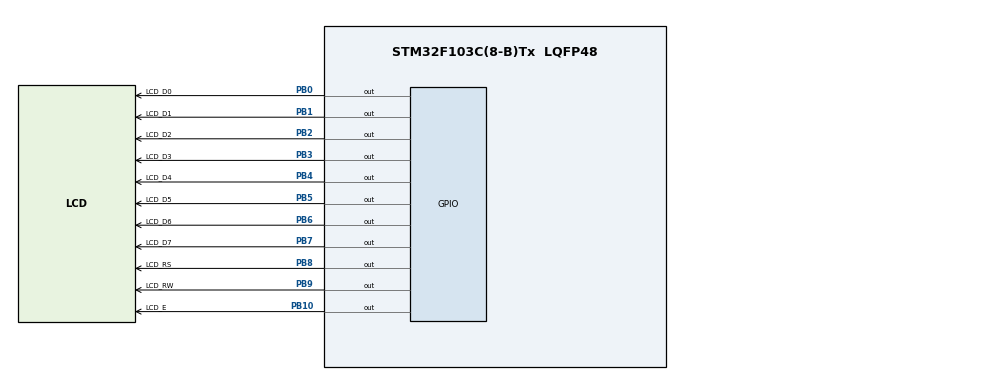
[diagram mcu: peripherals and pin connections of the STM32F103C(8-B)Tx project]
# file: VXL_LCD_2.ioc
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Mcu.Family=STM32F1
Mcu.Name=STM32F103C(8-B)Tx
Mcu.Package=LQFP48
NVIC.PriorityGroup=NVIC_PRIORITYGROUP_4
PA13.Mode=Serial_Wire
PA13.Signal=SYS_JTMS-SWDIO
PA14.Mode=Serial_Wire
PA14.Signal=SYS_JTCK-SWCLK
PB0.GPIO_Label=LCD_D0
PB0.Signal=GPIO_Output
PB1.GPIO_Label=LCD_D1
PB1.Signal=GPIO_Output
PB10.GPIO_Label=LCD_E
PB10.Signal=GPIO_Output
PB2.GPIO_Label=LCD_D2
PB2.Signal=GPIO_Output
PB3.GPIO_Label=LCD_D3
PB3.Signal=GPIO_Output
PB4.GPIO_Label=LCD_D4
PB4.Signal=GPIO_Output
PB5.GPIO_Label=LCD_D5
PB5.Signal=GPIO_Output
PB6.GPIO_Label=LCD_D6
PB6.Signal=GPIO_Output
PB7.GPIO_Label=LCD_D7
PB7.Signal=GPIO_Output
PB8.GPIO_Label=LCD_RS
PB8.Signal=GPIO_Output
PB9.GPIO_Label=LCD_RW
PB9.Signal=GPIO_Output
ProjectManager.HeapSize=0x200
ProjectManager.StackSize=0x400
ProjectManager.TargetToolchain=MDK-ARM V5.32
RCC.APB1Freq_Value=8000000
RCC.APB2Freq_Value=8000000
board=custom

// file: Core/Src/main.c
/* USER CODE BEGIN Header */
/**
  ******************************************************************************
  * @file           : main.c
  * @brief          : Main program body
  ******************************************************************************
  * @attention
  *
  * Copyright (c) 2023 STMicroelectronics.
  * All rights reserved.
  *
  * This software is licensed under terms that can be found in the LICENSE file
  * in the root directory of this software component.
  * If no LICENSE file comes with this software, it is provided AS-IS.
  *
  ******************************************************************************
  */
/* USER CODE END Header */
#include "main.h"

/* USER CODE BEGIN Includes */

// Select LCD_8bit or LCD_4bit in chi_LCD.c
#include "chi_LCD.h"

#include <stdio.h>
/* USER CODE END Includes */

/* USER CODE BEGIN PV */
const uint8_t CG1[]= {0,10,31,31,31,14,4,0};
const uint8_t CG2[] = {0x0,0xA,0x0,0x0,0x11,0xE,0x0,0x0};
const uint8_t CG3[] = {31,31,31,31,31,31,31,31};
/* USER CODE END PV */

void SystemClock_Config(void);
static void MX_GPIO_Init(void);

/* USER CODE BEGIN 0 */

/*struct __FILE
{
  int handle;
};*/
FILE __stdout;
int fputc(int ch, FILE *f)
{
	/* Your implementation of fputc(). */
	HAL_GPIO_WritePin(LCD_RS_GPIO_Port,LCD_RS_Pin,GPIO_PIN_SET); // command
	LCD_put(ch);
  return ch;
}

/* USER CODE END 0 */

int main(void)
{

  /* MCU Configuration--------------------------------------------------------*/

  /* Reset of all peripherals, Initializes the Flash interface and the Systick. */
  HAL_Init();

  /* Configure the system clock */
  SystemClock_Config();

  /* Initialize all configured peripherals */
  MX_GPIO_Init();
  /* USER CODE BEGIN 2 */
	LCD_init();
	LCD_setCGRAM((uint8_t *)CG1,0);
	LCD_setCGRAM((uint8_t *)CG2,1);
	LCD_setCGRAM((uint8_t *)CG3,2);

	LCD_gotoXY(0,0);
	LCD_printf((uint8_t *)"NGUYEN HUU CHI");

	LCD_gotoXY(1,1);
	HAL_GPIO_WritePin(LCD_RS_GPIO_Port,LCD_RS_Pin,GPIO_PIN_SET);
	LCD_put(0);
	LCD_printf((uint8_t *)" 20146479 ");
	LCD_put(1);

  /* USER CODE END 2 */

  /* Infinite loop */
  while (1)
  {

  }
}

void SystemClock_Config(void)
{
  RCC_OscInitTypeDef RCC_OscInitStruct = {0};
  RCC_ClkInitTypeDef RCC_ClkInitStruct = {0};

  /** Initializes the RCC Oscillators according to the specified parameters
  * in the RCC_OscInitTypeDef structure.
  */
  RCC_OscInitStruct.OscillatorType = RCC_OSCILLATORTYPE_HSI;
  RCC_OscInitStruct.HSIState = RCC_HSI_ON;
  RCC_OscInitStruct.HSICalibrationValue = RCC_HSICALIBRATION_DEFAULT;
  RCC_OscInitStruct.PLL.PLLState = RCC_PLL_NONE;
  if (HAL_RCC_OscConfig(&RCC_OscInitStruct) != HAL_OK)
  {
    Error_Handler();
  }

  /** Initializes the CPU, AHB and APB buses clocks
  */
  RCC_ClkInitStruct.ClockType = RCC_CLOCKTYPE_HCLK|RCC_CLOCKTYPE_SYSCLK
                              |RCC_CLOCKTYPE_PCLK1|RCC_CLOCKTYPE_PCLK2;
  RCC_ClkInitStruct.SYSCLKSource = RCC_SYSCLKSOURCE_HSI;
  RCC_ClkInitStruct.AHBCLKDivider = RCC_SYSCLK_DIV1;
  RCC_ClkInitStruct.APB1CLKDivider = RCC_HCLK_DIV1;
  RCC_ClkInitStruct.APB2CLKDivider = RCC_HCLK_DIV1;

  if (HAL_RCC_ClockConfig(&RCC_ClkInitStruct, FLASH_LATENCY_0) != HAL_OK)
  {
    Error_Handler();
  }
}

static void MX_GPIO_Init(void)
{
  GPIO_InitTypeDef GPIO_InitStruct = {0};

  /* GPIO Ports Clock Enable */
  __HAL_RCC_GPIOC_CLK_ENABLE();
  __HAL_RCC_GPIOD_CLK_ENABLE();
  __HAL_RCC_GPIOA_CLK_ENABLE();
  __HAL_RCC_GPIOB_CLK_ENABLE();

  /*Configure GPIO pin Output Level */
  HAL_GPIO_WritePin(GPIOB, LCD_D0_Pin|LCD_D1_Pin|LCD_D2_Pin|LCD_E_Pin
                          |LCD_D3_Pin|LCD_D4_Pin|LCD_D5_Pin|LCD_D6_Pin
                          |LCD_D7_Pin|LCD_RS_Pin|LCD_RW_Pin, GPIO_PIN_RESET);

  /*Configure GPIO pins : PC13 PC14 PC15 */
  GPIO_InitStruct.Pin = GPIO_PIN_13|GPIO_PIN_14|GPIO_PIN_15;
  GPIO_InitStruct.Mode = GPIO_MODE_ANALOG;
  HAL_GPIO_Init(GPIOC, &GPIO_InitStruct);

  /*Configure GPIO pins : PD0 PD1 */
  GPIO_InitStruct.Pin = GPIO_PIN_0|GPIO_PIN_1;
  GPIO_InitStruct.Mode = GPIO_MODE_ANALOG;
  HAL_GPIO_Init(GPIOD, &GPIO_InitStruct);

  /*Configure GPIO pins : PA0 PA1 PA2 PA3
                           PA4 PA5 PA6 PA7
                           PA8 PA9 PA10 PA11
                           PA12 PA15 */
  GPIO_InitStruct.Pin = GPIO_PIN_0|GPIO_PIN_1|GPIO_PIN_2|GPIO_PIN_3
                          |GPIO_PIN_4|GPIO_PIN_5|GPIO_PIN_6|GPIO_PIN_7
                          |GPIO_PIN_8|GPIO_PIN_9|GPIO_PIN_10|GPIO_PIN_11
                          |GPIO_PIN_12|GPIO_PIN_15;
  GPIO_InitStruct.Mode = GPIO_MODE_ANALOG;
  HAL_GPIO_Init(GPIOA, &GPIO_InitStruct);

  /*Configure GPIO pins : LCD_D0_Pin LCD_D1_Pin LCD_D2_Pin LCD_E_Pin
                           LCD_D3_Pin LCD_D4_Pin LCD_D5_Pin LCD_D6_Pin
                           LCD_D7_Pin LCD_RS_Pin LCD_RW_Pin */
  GPIO_InitStruct.Pin = LCD_D0_Pin|LCD_D1_Pin|LCD_D2_Pin|LCD_E_Pin
                          |LCD_D3_Pin|LCD_D4_Pin|LCD_D5_Pin|LCD_D6_Pin
                          |LCD_D7_Pin|LCD_RS_Pin|LCD_RW_Pin;
  GPIO_InitStruct.Mode = GPIO_MODE_OUTPUT_PP;
  GPIO_InitStruct.Pull = GPIO_NOPULL;
  GPIO_InitStruct.Speed = GPIO_SPEED_FREQ_LOW;
  HAL_GPIO_Init(GPIOB, &GPIO_InitStruct);

  /*Configure GPIO pins : PB11 PB12 PB13 PB14
                           PB15 */
  GPIO_InitStruct.Pin = GPIO_PIN_11|GPIO_PIN_12|GPIO_PIN_13|GPIO_PIN_14
                          |GPIO_PIN_15;
  GPIO_InitStruct.Mode = GPIO_MODE_ANALOG;
  HAL_GPIO_Init(GPIOB, &GPIO_InitStruct);

 // /*Configure peripheral I/O remapping */
 // __HAL_AFIO_REMAP_PD01_ENABLE();

}

void Error_Handler(void)
{
  __disable_irq();
  while (1)
  {
  }
}
